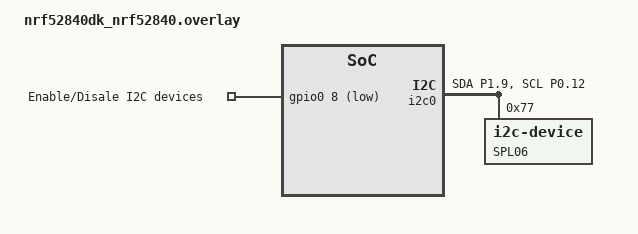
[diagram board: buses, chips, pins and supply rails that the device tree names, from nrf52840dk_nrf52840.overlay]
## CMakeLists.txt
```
# SPDX-License-Identifier: Apache-2.0

cmake_minimum_required(VERSION 3.20.0)
find_package(Zephyr REQUIRED HINTS $ENV{ZEPHYR_BASE})
project(blinky)

target_sources(app PRIVATE src/main.c)
target_sources(app PRIVATE src/spl06_001.c)
```

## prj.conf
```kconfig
CONFIG_GPIO=y
CONFIG_I2C=y

#RTT 
CONFIG_USE_SEGGER_RTT=y
CONFIG_RTT_CONSOLE=y
CONFIG_UART_CONSOLE=n

CONFIG_LOG=y
```

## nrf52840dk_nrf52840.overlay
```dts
&i2c0{
    compatible = "nordic,nrf-twi";
    status = "okay";
    pinctrl-0 = <&i2c0_default>;
    pinctrl-1 = <&i2c0_sleep>;
    pinctrl-names = "default", "sleep";
    spl06: spl06@77 {
        compatible = "i2c-device";
        reg = <0x77>;  // SPL06-001 default I2C address
        label = "SPL06";
    };
};

&pinctrl {
    i2c0_default: i2c0_default {
		group1 {
			psels = <NRF_PSEL(TWIM_SDA, 1, 9)>,
				<NRF_PSEL(TWIM_SCL, 0, 12)>;
		};
	};

	i2c0_sleep: i2c0_sleep {
		group1 {
			psels = <NRF_PSEL(TWIM_SDA, 1, 9)>,
				<NRF_PSEL(TWIM_SCL, 0, 12)>;
			low-power-enable;
		};
	};
};

/{
    CUSTOM_PINS_PCB {
        compatible = "gpio-keys";
        I2C_ENABLE:I2C_ENABLE{
            gpios = <&gpio0 8 GPIO_ACTIVE_LOW >;   /*GPIO PIN P0.09 */
            label = "Enable/Disale I2C devices";
        };
    };
    aliases {
		i2cenable = &I2C_ENABLE;

    };
};
```

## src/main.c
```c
/*
 * Copyright (c) 2016 Intel Corporation
 *
 * SPDX-License-Identifier: Apache-2.0
 */

#include <zephyr/kernel.h>
#include <zephyr/drivers/gpio.h>
#include <zephyr/logging/log.h>
LOG_MODULE_REGISTER(SPL06_001);

#include "spl06_001.h"

/* Perpheral Enable Pins*/
#define I2C_ENABLE_NODE DT_ALIAS(i2cenable)
static const struct gpio_dt_spec ENABLE_I2C_PIN = GPIO_DT_SPEC_GET(I2C_ENABLE_NODE,gpios);



int main(void)
{
	k_msleep(400);
	if(!device_is_ready(spl01_dev.bus))
	{
		printk("I2C bus not ready\n");
        return;
	}
	configure_pin();
	    gpio_pin_set_dt(&ENABLE_I2C_PIN,0); /// working on this
		read_adxl362_interrupt_pin();
	k_msleep(400);

	while(1)
	{
	k_msleep(400);

		read_product_id();
		k_msleep(3000);
	}
}

void configure_pin()
{
	int ret;
     ret = gpio_pin_configure_dt(&ENABLE_I2C_PIN, GPIO_ACTIVE_HIGH | GPIO_OUTPUT | GPIO_INPUT);
    if (!device_is_ready(ENABLE_I2C_PIN.port))
    {
        printk("Error: ENABLE_I2C Pin %s is not ready\n", ENABLE_I2C_PIN.port->name);
        return -1;
    }
}

    
void read_adxl362_interrupt_pin()
{
    int pin_state = gpio_pin_get_dt(&ENABLE_I2C_PIN);
    
    if (pin_state < 0) {
        LOG_ERR("Failed to read EN_I2C pin state");
        return;
    }

    if (pin_state == 1) {
        LOG_INF("EN_I2C  Pin is HIGH");
    } else {
        LOG_INF("EN_I2C  Pin is LOW");
    }
}
```

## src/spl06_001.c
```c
#include "spl06_001.h"

void read_product_id()
{
 uint8_t id = 0;
    int ret = i2c_burst_read(spl01_dev.bus, spl01_dev.addr, 0x0D, &id, 1);
    if (ret) {
        printk("Failed to read ID: %d\n", ret);
    } else {
        printk("SPL06 ID: 0x%02X\n", id);
    }
}
```

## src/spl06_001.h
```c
#ifndef SPL06_001_H
#define SPL06_001_H

#include <zephyr/devicetree.h>
#include <zephyr/drivers/i2c.h>

#define SPL06_ADDR 0x77 // Adjust according to SDO pin
#define SPL06_REG_ID 0xD0
#define SPL06_PRODUCT_ID 0x10

static const struct i2c_dt_spec spl01_dev = I2C_DT_SPEC_GET(DT_NODELABEL(spl06));

void read_product_id();


#endif
```
